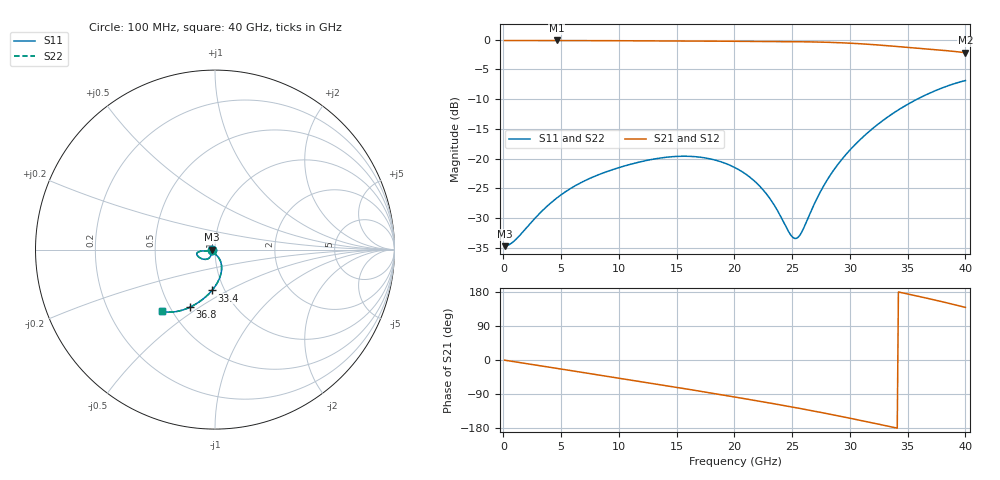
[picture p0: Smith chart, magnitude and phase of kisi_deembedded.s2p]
! B_s8_L1L8_d300: kisi-fdtd, de-embedded with the 2×thru
# Hz S RI R 50
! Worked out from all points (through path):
!   400 points, 100 MHz to 40 GHz, reference 50 ohm
!   highest |S21| = -0.15 dB at 4.6 GHz (marker M1); lowest = -2.2 dB at 40 GHz (marker M2)
!   group delay of S21, straight-line fit = 15 ps
!   lowest |S11| = -34.7 dB at 100 MHz (marker M3), VSWR 1.04, Z = 48.2 - j0.0863 ohm
!   |S11| at or under -10 dB: start of sweep to 35.83 GHz
!   |S22| runs from -34.7 to -6.9 dB; largest |S21 - S12| = 2.2e-07
!   S11 on the Smith chart (normalised r, x): 100 MHz: 0.96, -0.00; 33.4 GHz: 0.87, -0.42; 36.8 GHz: 0.62, -0.46; 40 GHz: 0.44, -0.38
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1e8  -0.0184 -0.000895  0.9808 -0.0081  0.9808 -0.0081  -0.0184 -0.000895
1e9  -0.0187 -0.00894  0.9778 -0.081  0.9778 -0.081  -0.0187 -0.00894
4.6e9  -0.0259 -0.0388  0.9116 -0.3675  0.9116 -0.3675  -0.0259 -0.0388
6.8e9  -0.0383 -0.0507  0.8273 -0.5284  0.8273 -0.5284  -0.0384 -0.0507
1.02e10  -0.0671 -0.0527  0.6425 -0.7359  0.6425 -0.7359  -0.0671 -0.0527
1.34e10  -0.0926 -0.0397  0.4221 -0.8777  0.4221 -0.8777  -0.0926 -0.0397
1.7e10  -0.101 -0.0207  0.1315 -0.9622  0.1315 -0.9622  -0.101 -0.0207
2.01e10  -0.0831 -0.00959  -0.1352 -0.9577  -0.1352 -0.9577  -0.0831 -0.00959
2.14e10  -0.0688 -0.00748  -0.2463 -0.9336  -0.2463 -0.9336  -0.0688 -0.00748
2.26e10  -0.0526 -0.00748  -0.347 -0.8996  -0.347 -0.8996  -0.0526 -0.00748
2.34e10  -0.0405 -0.00891  -0.4126 -0.8704  -0.4126 -0.8704  -0.0405 -0.00891
2.51e10  -0.0129 -0.0175  -0.5462 -0.79  -0.5462 -0.79  -0.0129 -0.0175
2.54e10  -0.00795 -0.02  -0.5687 -0.7731  -0.5687 -0.7731  -0.00795 -0.02
2.57e10  -0.00308 -0.0229  -0.5908 -0.7554  -0.5908 -0.7554  -0.00308 -0.0229
2.67e10  0.0123 -0.0354  -0.661 -0.6903  -0.661 -0.6903  0.0123 -0.0354
2.79e10  0.0273 -0.057  -0.7362 -0.6001  -0.7362 -0.6001  0.0273 -0.057
2.94e10  0.0368 -0.0945  -0.812 -0.4704  -0.812 -0.4704  0.0368 -0.0945
3.14e10  0.0254 -0.1587  -0.8729 -0.2761  -0.8729 -0.2761  0.0254 -0.1587
3.34e10  -0.0169 -0.2277  -0.8826 -0.0729  -0.8826 -0.0729  -0.0169 -0.2277
3.68e10  -0.1412 -0.3216  -0.7915 0.255  -0.7915 0.255  -0.1412 -0.3216
3.84e10  -0.2144 -0.3451  -0.7039 0.3932  -0.7039 0.3932  -0.2144 -0.3451
4e10  -0.2942 -0.3444  -0.5832 0.5105  -0.5832 0.5105  -0.2942 -0.3444
